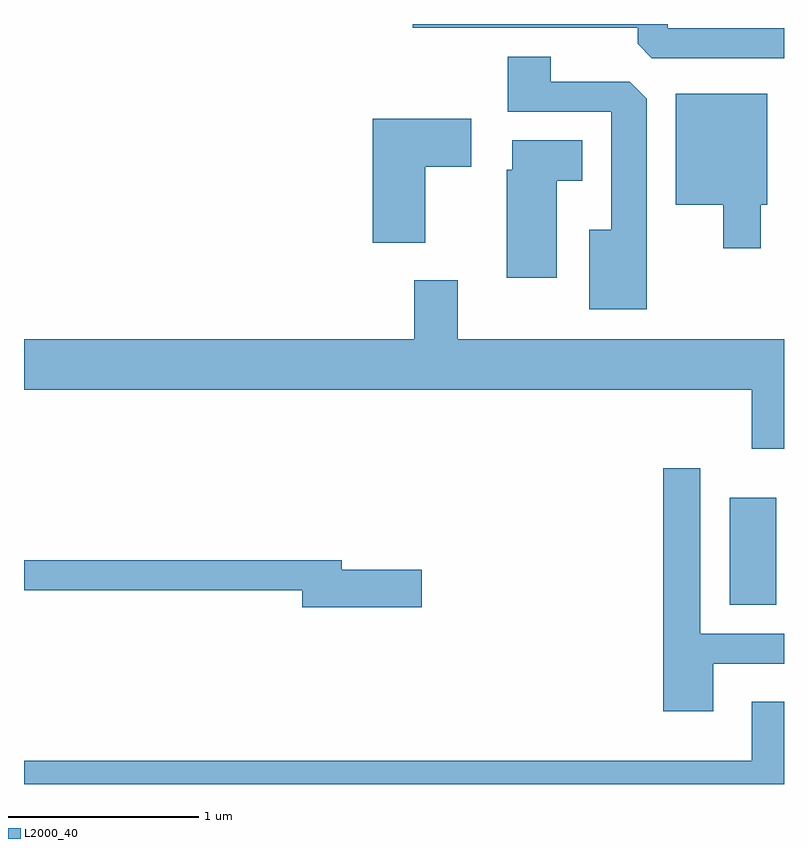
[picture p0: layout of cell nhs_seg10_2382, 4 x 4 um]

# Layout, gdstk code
import gdstk
lib = gdstk.Library(unit=1e-6, precision=1e-09)
def R(c, l, rs):  # rectangles x0, y0, x1, y1
    for r in rs: c.add(gdstk.rectangle(r[:2], r[2:], *l))
def P(c, l, *ps):  # polygons
    for p in ps: c.add(gdstk.Polygon(p, *l))
L2000_40 = (2000, 40)

nhs_seg10_2382 = lib.new_cell('nhs_seg10_2382')
R(nhs_seg10_2382, L2000_40, [(259.326,2099.466,259.569,2100.029)])
P(nhs_seg10_2382, L2000_40, [(259.611,2102.499),(258.999,2102.499),(258.999,2102.522),(257.658,2102.522),(257.658,2102.501),(258.841,2102.501),(258.841,2102.417),(258.916,2102.341),(259.611,2102.341)],
  [(258.889,2102.129),(258.799,2102.219),(258.384,2102.219),(258.384,2102.349),(258.156,2102.349),(258.156,2102.061),(258.701,2102.061),(258.701,2101.439),(258.586,2101.439),(258.586,2101.021),(258.889,2101.021)],
  [(259.489,2101.571),(259.524,2101.571),(259.524,2102.154),(259.041,2102.154),(259.041,2101.571),(259.291,2101.571),(259.291,2101.341),(259.489,2101.341)],
  [(257.724,2101.771),(257.964,2101.771),(257.964,2102.024),(257.446,2102.024),(257.446,2101.371),(257.724,2101.371)],
  [(258.414,2101.696),(258.549,2101.696),(258.549,2101.909),(258.181,2101.909),(258.181,2101.754),(258.151,2101.754),(258.151,2101.186),(258.414,2101.186)],
  [(259.611,2100.864),(257.894,2100.864),(257.894,2101.174),(257.666,2101.174),(257.666,2100.864),(255.611,2100.864),(255.611,2100.596),(259.441,2100.596),(259.441,2100.286),(259.611,2100.286)],
  [(259.239,2099.156),(259.611,2099.156),(259.611,2099.314),(259.169,2099.314),(259.169,2100.184),(258.976,2100.184),(258.976,2098.906),(259.239,2098.906)],
  [(257.704,2099.649),(257.284,2099.649),(257.284,2099.699),(255.611,2099.699),(255.611,2099.541),(257.076,2099.541),(257.076,2099.451),(257.704,2099.451)],
  [(259.611,2098.954),(259.441,2098.954),(259.441,2098.644),(255.611,2098.644),(255.611,2098.522),(259.611,2098.522)])

lib.write_gds('nhs_seg10_2382.gds')
